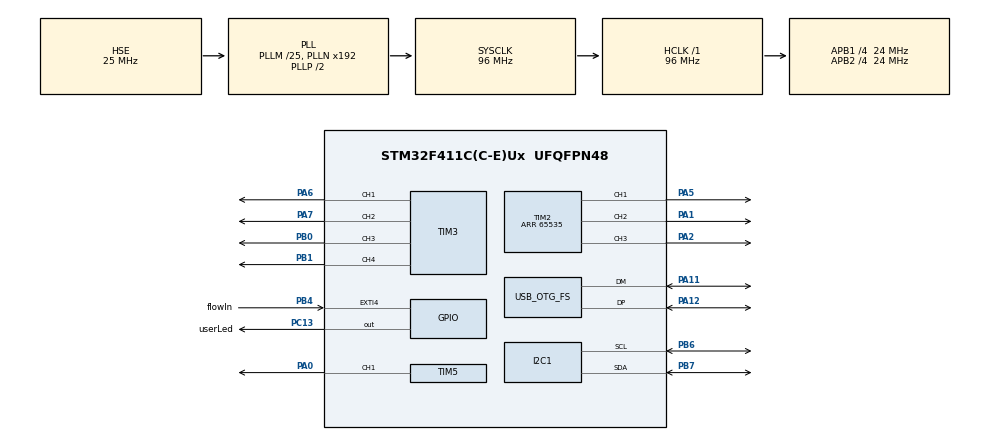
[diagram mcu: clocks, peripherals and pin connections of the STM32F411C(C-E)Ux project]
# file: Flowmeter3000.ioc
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Dma.I2C1_RX.0.Direction=DMA_PERIPH_TO_MEMORY
Dma.I2C1_RX.0.FIFOMode=DMA_FIFOMODE_DISABLE
Dma.I2C1_RX.0.Instance=DMA1_Stream0
Dma.I2C1_RX.0.MemDataAlignment=DMA_MDATAALIGN_BYTE
Dma.I2C1_RX.0.MemInc=DMA_MINC_ENABLE
Dma.I2C1_RX.0.Mode=DMA_NORMAL
Dma.I2C1_RX.0.PeriphDataAlignment=DMA_PDATAALIGN_BYTE
Dma.I2C1_RX.0.PeriphInc=DMA_PINC_DISABLE
Dma.I2C1_RX.0.Priority=DMA_PRIORITY_LOW
Dma.I2C1_TX.1.Direction=DMA_MEMORY_TO_PERIPH
Dma.I2C1_TX.1.FIFOMode=DMA_FIFOMODE_DISABLE
Dma.I2C1_TX.1.Instance=DMA1_Stream1
Dma.I2C1_TX.1.MemDataAlignment=DMA_MDATAALIGN_BYTE
Dma.I2C1_TX.1.MemInc=DMA_MINC_ENABLE
Dma.I2C1_TX.1.Mode=DMA_NORMAL
Dma.I2C1_TX.1.PeriphDataAlignment=DMA_PDATAALIGN_BYTE
Dma.I2C1_TX.1.PeriphInc=DMA_PINC_DISABLE
Dma.I2C1_TX.1.Priority=DMA_PRIORITY_LOW
Dma.Request0=I2C1_RX
Dma.Request1=I2C1_TX
I2C1.GeneralCallMode=I2C_GENERALCALL_DISABLE
I2C1.I2C_Mode=I2C_Fast
I2C1.NoStretchMode=I2C_NOSTRETCH_DISABLE
I2C1.OwnAddress=0x12
Mcu.Family=STM32F4
Mcu.Name=STM32F411C(C-E)Ux
Mcu.Package=UFQFPN48
NVIC.DMA1_Stream0_IRQn=true\:1\:0\:true\:true\:true\:2\:false\:true\:true
NVIC.DMA1_Stream1_IRQn=true\:1\:0\:true\:true\:true\:3\:false\:true\:true
NVIC.EXTI4_IRQn=true\:0\:0\:true\:true\:true\:1\:true\:true\:true
NVIC.I2C1_ER_IRQn=true\:1\:0\:true\:true\:true\:5\:true\:true\:true
NVIC.I2C1_EV_IRQn=true\:1\:0\:true\:true\:true\:4\:true\:true\:true
NVIC.OTG_FS_IRQn=true\:2\:0\:true\:true\:true\:6\:false\:true\:true
NVIC.PriorityGroup=NVIC_PRIORITYGROUP_4
PA0-WKUP.Signal=S_TIM5_CH1
PA1.Signal=S_TIM2_CH2
PA11.Mode=Device_Only
PA11.Signal=USB_OTG_FS_DM
PA12.Mode=Device_Only
PA12.Signal=USB_OTG_FS_DP
PA13.Mode=Serial_Wire
PA13.Signal=SYS_JTMS-SWDIO
PA14.Mode=Serial_Wire
PA14.Signal=SYS_JTCK-SWCLK
PA2.Signal=S_TIM2_CH3
PA5.Signal=S_TIM2_CH1_ETR
PA6.Signal=S_TIM3_CH1
PA7.Signal=S_TIM3_CH2
PB0.Signal=S_TIM3_CH3
PB1.Signal=S_TIM3_CH4
PB4.GPIO_Label=flowIn
PB4.GPIO_ModeDefaultEXTI=GPIO_MODE_IT_RISING_FALLING
PB4.GPIO_PuPd=GPIO_NOPULL
PB4.Signal=GPXTI4
PB6.Mode=I2C
PB6.Signal=I2C1_SCL
PB7.Mode=I2C
PB7.Signal=I2C1_SDA
PC13-ANTI_TAMP.GPIO_Label=userLed
PC13-ANTI_TAMP.GPIO_ModeDefaultOutputPP=GPIO_MODE_OUTPUT_PP
PC13-ANTI_TAMP.Signal=GPIO_Output
PC14-OSC32_IN.Mode=LSE-External-Oscillator
PC14-OSC32_IN.Signal=RCC_OSC32_IN
PC15-OSC32_OUT.Mode=LSE-External-Oscillator
PC15-OSC32_OUT.Signal=RCC_OSC32_OUT
PH0\ -\ OSC_IN.Mode=HSE-External-Oscillator
PH0\ -\ OSC_IN.Signal=RCC_OSC_IN
PH1\ -\ OSC_OUT.Mode=HSE-External-Oscillator
PH1\ -\ OSC_OUT.Signal=RCC_OSC_OUT
ProjectManager.HeapSize=0x200
ProjectManager.StackSize=0x400
ProjectManager.TargetToolchain=STM32CubeIDE
RCC.48MHZClocksFreq_Value=48000000
RCC.AHBFreq_Value=96000000
RCC.APB1CLKDivider=RCC_HCLK_DIV4
RCC.APB1Freq_Value=24000000
RCC.APB1TimFreq_Value=48000000
RCC.APB2CLKDivider=RCC_HCLK_DIV4
RCC.APB2Freq_Value=24000000
RCC.APB2TimFreq_Value=48000000
RCC.CortexFreq_Value=96000000
RCC.HCLKFreq_Value=96000000
RCC.HSE_VALUE=25000000
RCC.HSI_VALUE=16000000
RCC.PLLM=25
RCC.SYSCLKFreq_VALUE=96000000
RCC.SYSCLKSource=RCC_SYSCLKSOURCE_PLLCLK
RCC.VCOOutputFreq_Value=192000000
SH.S_TIM2_CH1_ETR.0=TIM2_CH1,PWM Generation1 CH1
SH.S_TIM2_CH2.0=TIM2_CH2,PWM Generation2 CH2
SH.S_TIM2_CH3.0=TIM2_CH3,PWM Generation3 CH3
SH.S_TIM3_CH1.0=TIM3_CH1,PWM Generation1 CH1
SH.S_TIM3_CH2.0=TIM3_CH2,PWM Generation2 CH2
SH.S_TIM3_CH3.0=TIM3_CH3,PWM Generation3 CH3
SH.S_TIM3_CH4.0=TIM3_CH4,PWM Generation4 CH4
SH.S_TIM5_CH1.0=TIM5_CH1,PWM Generation1 CH1
TIM2.Channel-PWM\ Generation1\ CH1=TIM_CHANNEL_1
TIM2.Channel-PWM\ Generation2\ CH2=TIM_CHANNEL_2
TIM2.Channel-PWM\ Generation3\ CH3=TIM_CHANNEL_3
TIM2.Period=65535
TIM3.Channel-PWM\ Generation1\ CH1=TIM_CHANNEL_1
TIM3.Channel-PWM\ Generation2\ CH2=TIM_CHANNEL_2
TIM3.Channel-PWM\ Generation3\ CH3=TIM_CHANNEL_3
TIM3.Channel-PWM\ Generation4\ CH4=TIM_CHANNEL_4
TIM5.Channel-PWM\ Generation1\ CH1=TIM_CHANNEL_1
TIM5.Period=65535
USB_DEVICE.CLASS_NAME_FS=CDC
USB_DEVICE.LANGID_STRING=1031
USB_DEVICE.MANUFACTURER_STRING=Z-Gesellschaft
USB_DEVICE.VirtualMode=Cdc
USB_DEVICE.VirtualModeFS=Cdc_FS
USB_OTG_FS.VirtualMode=Device_Only
VP_USB_DEVICE_VS_USB_DEVICE_CDC_FS.Mode=CDC_FS
board=custom

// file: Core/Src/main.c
/* USER CODE BEGIN Header */
/**
 ******************************************************************************
 * @file           : main.c
 * @brief          : Main program body
 ******************************************************************************
 * @attention
 *
 * Copyright (c) 2022 STMicroelectronics.
 * All rights reserved.
 *
 * This software is licensed under terms that can be found in the LICENSE file
 * in the root directory of this software component.
 * If no LICENSE file comes with this software, it is provided AS-IS.
 *
 ******************************************************************************
 */
/* USER CODE END Header */
#include "main.h"
#include "usb_device.h"

/* USER CODE BEGIN Includes */
#include "communication.h"
/* USER CODE END Includes */

/* USER CODE BEGIN PTD */
//__IO uint32_t Transfer_Direction = 0;
//__IO uint32_t Xfer_Complete = 0;
//__IO uint32_t errorCode = 0;
/* USER CODE END PTD */

/* USER CODE BEGIN PD */

/* Buffer used for transmission */
uint8_t aTxBuffer[2];

/* Buffer used for reception */
uint8_t aRxBuffer[3];

/* USER CODE END PD */

I2C_HandleTypeDef hi2c1;
DMA_HandleTypeDef hdma_i2c1_rx;
DMA_HandleTypeDef hdma_i2c1_tx;

TIM_HandleTypeDef htim2;
TIM_HandleTypeDef htim3;
TIM_HandleTypeDef htim5;

/* USER CODE BEGIN PV */
__IO uint8_t interruptCounter = 0;
unsigned int userMillis = 500;
__IO unsigned int zapfMillis = 0;
unsigned int oldMillis = 0;
unsigned int countProMl;
char buffer[60];
uint8_t energieSparen = 0;
uint8_t ebnerModus = 0;
uint8_t ledDelayVar = 10;
uint8_t recieveComplete = 0;
unsigned int helligkeit = 0;

/* USER CODE END PV */

void SystemClock_Config(void);
static void MX_GPIO_Init(void);
static void MX_DMA_Init(void);
static void MX_I2C1_Init(void);
static void MX_TIM2_Init(void);
static void MX_TIM3_Init(void);
static void MX_TIM5_Init(void);
static void MX_NVIC_Init(void);
/* USER CODE BEGIN PFP */
void zapfStandLed(uint16_t anzeigeMillis);
void dimLed(unsigned int, unsigned int);
void ledDelay(void);
void warpLed(uint16_t wieOftAusfuehren);
void warpLed2(uint32_t laufZeit);
void warpLed3(uint32_t laufZeit);
void gauselMann(void);
void dimLedToWert(void);
void checkAfterMaster(void);
uint16_t getFromRxBuffer(void);

extern uint8_t CDC_Transmit_FS(char *Buf, uint16_t Len);
/* USER CODE END PFP */

int main(void)
{

  /* MCU Configuration--------------------------------------------------------*/

  /* Reset of all peripherals, Initializes the Flash interface and the Systick. */
  HAL_Init();

  /* USER CODE BEGIN Init */
	aRxBuffer[0] = 0x00;
	aRxBuffer[1] = 0x00;
	aRxBuffer[2] = 0x00;
	aTxBuffer[0] = 0x00;
	aTxBuffer[1] = 0x00;
	countProMl = 1048; // bis der Master was anderes schickt
  /* USER CODE END Init */

  /* Configure the system clock */
  SystemClock_Config();

  /* Initialize all configured peripherals */
  MX_GPIO_Init();
  MX_DMA_Init();
  MX_I2C1_Init();
  MX_USB_DEVICE_Init();
  MX_TIM2_Init();
  MX_TIM3_Init();
  MX_TIM5_Init();

  /* Initialize interrupts */
  MX_NVIC_Init();
  /* USER CODE BEGIN 2 */
	/* Starte PWM  Timer */
	HAL_TIM_PWM_Start(&htim2, TIM_CHANNEL_1);
	HAL_TIM_PWM_Start(&htim2, TIM_CHANNEL_2);
	HAL_TIM_PWM_Start(&htim2, TIM_CHANNEL_3);
	HAL_TIM_PWM_Start(&htim3, TIM_CHANNEL_1);
	HAL_TIM_PWM_Start(&htim3, TIM_CHANNEL_2);
	HAL_TIM_PWM_Start(&htim3, TIM_CHANNEL_3);
	HAL_TIM_PWM_Start(&htim3, TIM_CHANNEL_4);
	HAL_TIM_PWM_Start(&htim5, TIM_CHANNEL_1);

	HAL_Delay(1);

	/*##-2- Put I2C peripheral in reception process ###########################*/
	if (HAL_I2C_Slave_Receive_DMA(&hi2c1, aRxBuffer, 3) != HAL_OK) {
		/* Transfer error in reception process */
		Error_Handler();
	}

	/* LED aus */
	HAL_GPIO_WritePin(userLed_GPIO_Port, userLed_Pin, 1);

	aRxBuffer[2]=10;
	warpLed3(250);
	aRxBuffer[2]=0;

  /* USER CODE END 2 */

  /* Infinite loop */
  /* USER CODE BEGIN WHILE */
	while (1) {

		if (recieveComplete == 1) {
			recieveComplete = 0;
			if (aRxBuffer[0] > 0x01)
				checkAfterMaster();
		}

		if (oldMillis != zapfMillis) {
			//HAL_GPIO_TogglePin(userLed_GPIO_Port, userLed_Pin);
			oldMillis = zapfMillis;
			if (zapfMillis < userMillis) {
				zapfStandLed(zapfMillis);
			}
			else {
				zapfStandLed(userMillis);
			}

//			sprintf(buffer, "zapf: %d ml aTx0: %x aTx1: %x  \n\r", zapfMillis,
//					aTxBuffer[0], aTxBuffer[1]);
//			CDC_Transmit_FS(buffer, sizeof(buffer));

//			if (zapfMillis >= userMillis) {
//				zapfMillis = 0;
//				for (unsigned int x = 65535; x > 128; x -= 127) {
//					dimLed(0, x);
//					HAL_Delay(1);
//				}
//				dimLed(0, 0);
//			}

		}

	}

    /* USER CODE END WHILE */

}

void SystemClock_Config(void)
{
  RCC_OscInitTypeDef RCC_OscInitStruct = {0};
  RCC_ClkInitTypeDef RCC_ClkInitStruct = {0};

  /** Configure the main internal regulator output voltage
  */
  __HAL_RCC_PWR_CLK_ENABLE();
  __HAL_PWR_VOLTAGESCALING_CONFIG(PWR_REGULATOR_VOLTAGE_SCALE1);

  /** Initializes the RCC Oscillators according to the specified parameters
  * in the RCC_OscInitTypeDef structure.
  */
  RCC_OscInitStruct.OscillatorType = RCC_OSCILLATORTYPE_HSE;
  RCC_OscInitStruct.HSEState = RCC_HSE_ON;
  RCC_OscInitStruct.PLL.PLLState = RCC_PLL_ON;
  RCC_OscInitStruct.PLL.PLLSource = RCC_PLLSOURCE_HSE;
  RCC_OscInitStruct.PLL.PLLM = 25;
  RCC_OscInitStruct.PLL.PLLN = 192;
  RCC_OscInitStruct.PLL.PLLP = RCC_PLLP_DIV2;
  RCC_OscInitStruct.PLL.PLLQ = 4;
  if (HAL_RCC_OscConfig(&RCC_OscInitStruct) != HAL_OK)
  {
    Error_Handler();
  }

  /** Initializes the CPU, AHB and APB buses clocks
  */
  RCC_ClkInitStruct.ClockType = RCC_CLOCKTYPE_HCLK|RCC_CLOCKTYPE_SYSCLK
                              |RCC_CLOCKTYPE_PCLK1|RCC_CLOCKTYPE_PCLK2;
  RCC_ClkInitStruct.SYSCLKSource = RCC_SYSCLKSOURCE_PLLCLK;
  RCC_ClkInitStruct.AHBCLKDivider = RCC_SYSCLK_DIV1;
  RCC_ClkInitStruct.APB1CLKDivider = RCC_HCLK_DIV4;
  RCC_ClkInitStruct.APB2CLKDivider = RCC_HCLK_DIV4;

  if (HAL_RCC_ClockConfig(&RCC_ClkInitStruct, FLASH_LATENCY_3) != HAL_OK)
  {
    Error_Handler();
  }
}

/**
  * @brief NVIC Configuration.
  * @retval None
  */
static void MX_NVIC_Init(void)
{
  /* EXTI4_IRQn interrupt configuration */
  HAL_NVIC_SetPriority(EXTI4_IRQn, 0, 0);
  HAL_NVIC_EnableIRQ(EXTI4_IRQn);
  /* DMA1_Stream0_IRQn interrupt configuration */
  HAL_NVIC_SetPriority(DMA1_Stream0_IRQn, 1, 0);
  HAL_NVIC_EnableIRQ(DMA1_Stream0_IRQn);
  /* DMA1_Stream1_IRQn interrupt configuration */
  HAL_NVIC_SetPriority(DMA1_Stream1_IRQn, 1, 0);
  HAL_NVIC_EnableIRQ(DMA1_Stream1_IRQn);
  /* I2C1_EV_IRQn interrupt configuration */
  HAL_NVIC_SetPriority(I2C1_EV_IRQn, 1, 0);
  HAL_NVIC_EnableIRQ(I2C1_EV_IRQn);
  /* I2C1_ER_IRQn interrupt configuration */
  HAL_NVIC_SetPriority(I2C1_ER_IRQn, 1, 0);
  HAL_NVIC_EnableIRQ(I2C1_ER_IRQn);
  /* OTG_FS_IRQn interrupt configuration */
  HAL_NVIC_SetPriority(OTG_FS_IRQn, 2, 0);
  HAL_NVIC_EnableIRQ(OTG_FS_IRQn);
}

static void MX_I2C1_Init(void)
{

  hi2c1.Instance = I2C1;
  hi2c1.Init.ClockSpeed = 400000;
  hi2c1.Init.DutyCycle = I2C_DUTYCYCLE_2;
  hi2c1.Init.OwnAddress1 = 36;
  hi2c1.Init.AddressingMode = I2C_ADDRESSINGMODE_7BIT;
  hi2c1.Init.DualAddressMode = I2C_DUALADDRESS_DISABLE;
  hi2c1.Init.OwnAddress2 = 0;
  hi2c1.Init.GeneralCallMode = I2C_GENERALCALL_DISABLE;
  hi2c1.Init.NoStretchMode = I2C_NOSTRETCH_DISABLE;
  if (HAL_I2C_Init(&hi2c1) != HAL_OK)
  {
    Error_Handler();
  }

}

static void MX_TIM2_Init(void)
{

  TIM_MasterConfigTypeDef sMasterConfig = {0};
  TIM_OC_InitTypeDef sConfigOC = {0};

  htim2.Instance = TIM2;
  htim2.Init.Prescaler = 0;
  htim2.Init.CounterMode = TIM_COUNTERMODE_UP;
  htim2.Init.Period = 65535;
  htim2.Init.ClockDivision = TIM_CLOCKDIVISION_DIV1;
  htim2.Init.AutoReloadPreload = TIM_AUTORELOAD_PRELOAD_DISABLE;
  if (HAL_TIM_PWM_Init(&htim2) != HAL_OK)
  {
    Error_Handler();
  }
  sMasterConfig.MasterOutputTrigger = TIM_TRGO_RESET;
  sMasterConfig.MasterSlaveMode = TIM_MASTERSLAVEMODE_DISABLE;
  if (HAL_TIMEx_MasterConfigSynchronization(&htim2, &sMasterConfig) != HAL_OK)
  {
    Error_Handler();
  }
  sConfigOC.OCMode = TIM_OCMODE_PWM1;
  sConfigOC.Pulse = 0;
  sConfigOC.OCPolarity = TIM_OCPOLARITY_HIGH;
  sConfigOC.OCFastMode = TIM_OCFAST_DISABLE;
  if (HAL_TIM_PWM_ConfigChannel(&htim2, &sConfigOC, TIM_CHANNEL_1) != HAL_OK)
  {
    Error_Handler();
  }
  if (HAL_TIM_PWM_ConfigChannel(&htim2, &sConfigOC, TIM_CHANNEL_2) != HAL_OK)
  {
    Error_Handler();
  }
  if (HAL_TIM_PWM_ConfigChannel(&htim2, &sConfigOC, TIM_CHANNEL_3) != HAL_OK)
  {
    Error_Handler();
  }
  HAL_TIM_MspPostInit(&htim2);

}

static void MX_TIM3_Init(void)
{

  TIM_MasterConfigTypeDef sMasterConfig = {0};
  TIM_OC_InitTypeDef sConfigOC = {0};

  htim3.Instance = TIM3;
  htim3.Init.Prescaler = 0;
  htim3.Init.CounterMode = TIM_COUNTERMODE_UP;
  htim3.Init.Period = 65535;
  htim3.Init.ClockDivision = TIM_CLOCKDIVISION_DIV1;
  htim3.Init.AutoReloadPreload = TIM_AUTORELOAD_PRELOAD_DISABLE;
  if (HAL_TIM_PWM_Init(&htim3) != HAL_OK)
  {
    Error_Handler();
  }
  sMasterConfig.MasterOutputTrigger = TIM_TRGO_RESET;
  sMasterConfig.MasterSlaveMode = TIM_MASTERSLAVEMODE_DISABLE;
  if (HAL_TIMEx_MasterConfigSynchronization(&htim3, &sMasterConfig) != HAL_OK)
  {
    Error_Handler();
  }
  sConfigOC.OCMode = TIM_OCMODE_PWM1;
  sConfigOC.Pulse = 0;
  sConfigOC.OCPolarity = TIM_OCPOLARITY_HIGH;
  sConfigOC.OCFastMode = TIM_OCFAST_DISABLE;
  if (HAL_TIM_PWM_ConfigChannel(&htim3, &sConfigOC, TIM_CHANNEL_1) != HAL_OK)
  {
    Error_Handler();
  }
  if (HAL_TIM_PWM_ConfigChannel(&htim3, &sConfigOC, TIM_CHANNEL_2) != HAL_OK)
  {
    Error_Handler();
  }
  if (HAL_TIM_PWM_ConfigChannel(&htim3, &sConfigOC, TIM_CHANNEL_3) != HAL_OK)
  {
    Error_Handler();
  }
  if (HAL_TIM_PWM_ConfigChannel(&htim3, &sConfigOC, TIM_CHANNEL_4) != HAL_OK)
  {
    Error_Handler();
  }
  HAL_TIM_MspPostInit(&htim3);

}

static void MX_TIM5_Init(void)
{

  TIM_MasterConfigTypeDef sMasterConfig = {0};
  TIM_OC_InitTypeDef sConfigOC = {0};

  htim5.Instance = TIM5;
  htim5.Init.Prescaler = 0;
  htim5.Init.CounterMode = TIM_COUNTERMODE_UP;
  htim5.Init.Period = 65535;
  htim5.Init.ClockDivision = TIM_CLOCKDIVISION_DIV1;
  htim5.Init.AutoReloadPreload = TIM_AUTORELOAD_PRELOAD_DISABLE;
  if (HAL_TIM_PWM_Init(&htim5) != HAL_OK)
  {
    Error_Handler();
  }
  sMasterConfig.MasterOutputTrigger = TIM_TRGO_RESET;
  sMasterConfig.MasterSlaveMode = TIM_MASTERSLAVEMODE_DISABLE;
  if (HAL_TIMEx_MasterConfigSynchronization(&htim5, &sMasterConfig) != HAL_OK)
  {
    Error_Handler();
  }
  sConfigOC.OCMode = TIM_OCMODE_PWM1;
  sConfigOC.Pulse = 0;
  sConfigOC.OCPolarity = TIM_OCPOLARITY_HIGH;
  sConfigOC.OCFastMode = TIM_OCFAST_DISABLE;
  if (HAL_TIM_PWM_ConfigChannel(&htim5, &sConfigOC, TIM_CHANNEL_1) != HAL_OK)
  {
    Error_Handler();
  }
  HAL_TIM_MspPostInit(&htim5);

}

static void MX_DMA_Init(void)
{

  /* DMA controller clock enable */
  __HAL_RCC_DMA1_CLK_ENABLE();

}

static void MX_GPIO_Init(void)
{
  GPIO_InitTypeDef GPIO_InitStruct = {0};

  /* GPIO Ports Clock Enable */
  __HAL_RCC_GPIOC_CLK_ENABLE();
  __HAL_RCC_GPIOH_CLK_ENABLE();
  __HAL_RCC_GPIOA_CLK_ENABLE();
  __HAL_RCC_GPIOB_CLK_ENABLE();

  /*Configure GPIO pin Output Level */
  HAL_GPIO_WritePin(userLed_GPIO_Port, userLed_Pin, GPIO_PIN_RESET);

  /*Configure GPIO pin : userLed_Pin */
  GPIO_InitStruct.Pin = userLed_Pin;
  GPIO_InitStruct.Mode = GPIO_MODE_OUTPUT_PP;
  GPIO_InitStruct.Pull = GPIO_NOPULL;
  GPIO_InitStruct.Speed = GPIO_SPEED_FREQ_LOW;
  HAL_GPIO_Init(userLed_GPIO_Port, &GPIO_InitStruct);

  /*Configure GPIO pin : flowIn_Pin */
  GPIO_InitStruct.Pin = flowIn_Pin;
  GPIO_InitStruct.Mode = GPIO_MODE_IT_RISING_FALLING;
  GPIO_InitStruct.Pull = GPIO_NOPULL;
  HAL_GPIO_Init(flowIn_GPIO_Port, &GPIO_InitStruct);

}

/* USER CODE BEGIN 4 */
/* Interrupt Service Routine für den SM6020 Flowmeter von ifm
 *
 * Zählt nur vernünftig, wenn der Pin auf Rising/Falling eingestellt ist.
 * I DONT KNOW WHY. FUCK.
 *
 * Natürlich hat man dann die doppelte Anzahl an Pulsen. Wenn die ISR die volatile zapfMillis bei
 * jedem zweiten Puls hochzählt hat man aber absolut korrekte Ergebnisse,
 * egal was noch einen IRQ auslöst.
 */
void HAL_GPIO_EXTI_Callback(uint16_t GPIO_Pin) {
	if (GPIO_Pin == flowIn_Pin) {
		interruptCounter++;
		if (interruptCounter == 2) {
			interruptCounter = 0;
			zapfMillis++;
		}
		/* Gleich mal die Ausgabewerte für den I2C befüllen */
		aTxBuffer[1] = zapfMillis & 0xFF;   // Lowbyte (die hinteren 8 Bit)
		aTxBuffer[0] = zapfMillis >> 8;	// Highbyte (die vorderen acht Bit)
	}
}

/**
 * @brief  Diese Funktion gibt den Wert der zwei I2C Datenbytes als INT zurück
 * @param  none
 * @retval INT von aRxBuffer[1] und aRxBuffer[2]
 */
uint16_t getFromRxBuffer(void) {
	return ((aRxBuffer[1] << 8) | (aRxBuffer[2] & 0xFF));
}

void checkAfterMaster(void) {
	HAL_GPIO_TogglePin(userLed_GPIO_Port, userLed_Pin);

	switch (aRxBuffer[0]) {

	case setUserMilliLitres:
		userMillis = getFromRxBuffer();
		countProMl = 524287 / userMillis;
		break;
	case beginZapf:
		zapfMillis = 0;
		interruptCounter = 0;
		dimLed(0, helligkeit);
		countProMl = 524287 / userMillis;
		aTxBuffer[1] = zapfMillis & 0xFF;   // Lowbyte (die hinteren 8 Bit)
		aTxBuffer[0] = zapfMillis >> 8;	// Highbyte (die vorderen acht Bit)
		break;
	case makeFunWithLeds1:
		/* Laufzeit kommt von aRxBuffer[1], Delay von aRxBuffer[2] */
		warpLed(aRxBuffer[1]);
		break;
	case makeFunWithLeds2:
		warpLed2(aRxBuffer[1] * 1000);
		break;
	case makeFunWithLeds3:
		warpLed3(aRxBuffer[1] * 1000);
		break;
	case makeFunWithLeds4:
		gauselMann();
		break;
	case DIM_LED_TO_WERT:
		dimLedToWert();
		break;
	case endZapf:
		zapfMillis = 0;
		interruptCounter = 0;
		aTxBuffer[1] = zapfMillis & 0xFF;   // Lowbyte (die hinteren 8 Bit)
		aTxBuffer[0] = zapfMillis >> 8;	// Highbyte (die vorderen acht Bit)
		break;
	case ebiMode:
		ebnerModus = 1;
		break;
	case lowEnergy:
		if (aRxBuffer[1] == 0x01) {
			energieSparen = 1;
			dimLed(0, 0);
		}
		if (aRxBuffer[1] == 0x00) {
			energieSparen = 0;
			dimLed(0,0xFFFF);
			HAL_Delay(250);
			dimLed(0,0);
		}

		break;

	}

}

/* Zeigt den aktuellen  Zapfstand an */
void zapfStandLed(uint16_t anzeigeMillis) {
	unsigned long countsAktuell = countProMl * anzeigeMillis;

	if (countsAktuell < 1 * 0xFFFF) {
		dimLed(1, countsAktuell);
		//TIM2->CCR1 = countsAktuell;
	}
	if ((countsAktuell < 2 * 0xFFFF) && (countsAktuell > 1 * 0xFFFF)) {
		dimLed(1, 0xFFFF);
		//TIM2->CCR1 = 0xFFFF;
		dimLed(2, countsAktuell - 0xFFFF);
		//TIM2->CCR2 = countsAktuell - 0xFFFF;
	}
	if ((countsAktuell < 3 * 0xFFFF) && (countsAktuell > 2 * 0xFFFF)) {
		dimLed(2, 0xFFFF);
		dimLed(3, countsAktuell - 2 * 0xFFFF);
		//TIM2->CCR2 = 0xFFFF;
		//TIM2->CCR3 = countsAktuell - 2 * 0xFFFF;
	}
	if ((countsAktuell < 4 * 0xFFFF) && (countsAktuell > 3 * 0xFFFF)) {
		dimLed(3, 0xFFFF);
		dimLed(4, countsAktuell - 3 * 0xFFFF);

		//TIM2->CCR3 = 0xFFFF;
		//TIM3->CCR1 = countsAktuell - 3 * 0xFFFF;
	}
	if ((countsAktuell < 5 * 0xFFFF) && (countsAktuell > 4 * 0xFFFF)) {
		dimLed(4, 0xFFFF);
		dimLed(5, countsAktuell - 4 * 0xFFFF);

		//TIM3->CCR1 = 0xFFFF;
		//TIM3->CCR2 = countsAktuell - 4 * 0xFFFF;
	}
	if ((countsAktuell < 6 * 0xFFFF) && (countsAktuell > 5 * 0xFFFF)) {
		dimLed(5, 0xFFFF);
		dimLed(6, countsAktuell - 5 * 0xFFFF);

		//TIM3->CCR3 = 0xFFFF;
		//TIM3->CCR3 = countsAktuell - 5 * 0xFFFF;
	}
	if ((countsAktuell < 7 * 0xFFFF) && (countsAktuell > 6 * 0xFFFF)) {
		dimLed(6, 0xFFFF);
		dimLed(7, countsAktuell - 6 * 0xFFFF);

		//TIM3->CCR3 = 0xFFFF;
		//TIM3->CCR4 = countsAktuell - 6 * 0xFFFF;
	}
	if ((countsAktuell < 8 * 0xFFFF) && (countsAktuell > 7 * 0xFFFF)) {
		dimLed(7, 0xFFFF);
		dimLed(8, countsAktuell - 7 * 0xFFFF);

		//TIM3->CCR4 = 0xFFFF;
		//TIM5->CCR1 = countsAktuell - 7 * 0xFFFF;
	}
	if (energieSparen == 1){
		dimLed(0,0);
		}

}

void ledDelay(void) {
	/* Das zweite Byte von makeFunWithLeds wird als Systick Delay genutzt */

	uint16_t x = 0;
	if (aRxBuffer[2] > 10) {
		ledDelayVar = aRxBuffer[2];
	}
	while (x <= ledDelayVar * 100) {
		x++;
	}
}

void warpLed(uint16_t wieOftAusfuehren) {
	//uint32_t beginnZeit = HAL_GetTick();
	uint16_t warp[8];
    uint16_t wieOftAusgefuehrt = 0;

    // alles leicht einschalten am Anfang
	for (int x = 0; x<8; x++){
		warp[x] = 1023;
	}

	uint16_t teile = 0;
	uint8_t standPunkt = 0;
	//while (HAL_GetTick() - beginnZeit < laufZeit) {
	while (wieOftAusgefuehrt < aRxBuffer[1]) {  //stoppt wenn man eine Anfrage schickt die den aRXbuffer auf 0 setzt
		teile += 31;
		if (teile > 1984) {
			teile = 0;
			standPunkt++;
		}

		if (standPunkt == 0) {
			warp[0] += teile;
		}

		if (standPunkt == 1) {
			warp[1] += teile;
			warp[0] -= teile;
		}
		if (standPunkt == 2) {
			warp[2] += teile;
			warp[1] -= teile;
		}
		if (standPunkt == 3) {
			warp[3] += teile;
			warp[2] -= teile;
		}
		if (standPunkt == 4) {
			warp[0] += teile;
			warp[3] -= teile;
		}
		if (standPunkt > 4) {
			wieOftAusgefuehrt++;
			standPunkt = 1;
		}

		warp[7] = warp[0];
		warp[6] = warp[1];
		warp[5] = warp[2];
		warp[4] = warp[3];

		//hier die ganzen Werte ausgeben auf den LEDs
		for (uint8_t x = 0; x < 9; x++) {
			dimLed(x + 1, warp[x]);
		}
		ledDelay();
	}

	/* Alle Leds runterdimmen */

	/*
	for (uint8_t x = 0; x < 9; x++) {

		for (uint16_t y = warp[x]; y < 1; y--) {
			dimLed(x + 1, y);
		}
	}
	*/

}

void dimLedToWert() {
	//hier die LEDS dimmen wenn feddich
	uint8_t anfang = aRxBuffer[1];
	uint8_t ende = aRxBuffer[2];
	aRxBuffer[2] = 100; //shorter! das ist fürs delay dann
	for (uint8_t x = anfang; x > ende ; x --) {
		dimLed(0, (x << 8| 0xFF)); //0= alle LEDS, x der Zustand
		ledDelay();
	}
	if (ende > 0) {
		helligkeit = ende << 8 | 0x00;
	} else {
		helligkeit = 0;
	}
	dimLed(0,helligkeit);

}

void warpLed2(uint32_t laufZeit) {
	uint32_t beginnZeit = HAL_GetTick();
	uint16_t warp[8];
	for (uint16_t y = 0; y < 1024; y++) {
		for (uint8_t x = 0; x < 8; x++) {
			warp[x] = y;
			dimLed(x + 1, warp[x]);
		}
	}

	uint16_t teile = 0;
	uint8_t standPunkt = 0;
	while (HAL_GetTick() - beginnZeit < laufZeit) {
		teile += 31;
		if (teile > 1984) {
			teile = 0;
			standPunkt++;
			if (standPunkt > 9) {
				standPunkt = 2;
			}

		}

		if (standPunkt == 0) {
			warp[0] += teile;
		}

		if (standPunkt == 1) {
			warp[1] += teile;
		}
		if (standPunkt == 2) {
			warp[0] -= teile;
			warp[2] += teile;
		}
		if (standPunkt == 3) {
			warp[1] -= teile;
			warp[3] += teile;
		}
		if (standPunkt == 4) {
			warp[2] -= teile;
			warp[4] += teile;
		}
		if (standPunkt == 5) {
			warp[3] -= teile;
			warp[5] += teile;
		}
		if (standPunkt == 6) {
			warp[4] -= teile;
			warp[6] += teile;
		}
		if (standPunkt == 7) {
			warp[5] -= teile;
			warp[7] += teile;
		}
		if (standPunkt == 8) {
			warp[6] -= teile;
			warp[0] += teile;
		}
		if (standPunkt == 9) {
			warp[7] -= teile;
			warp[1] += teile;
		}

		for (uint8_t x = 0; x < 8; x++) {
			dimLed(x + 1, warp[x]);
		}

		ledDelay();
	}

	/* Alle Leds runterdimmen */

	for (uint8_t x = 0; x < 8; x++) {
		while (warp[x] > 0) {
			warp[x]--;
			dimLed(x + 1, warp[x]);
		}
	}
}

void warpLed3(uint32_t laufZeit) {
	uint32_t beginnZeit = HAL_GetTick();
	uint16_t warp[8];
	for (uint16_t y = 0; y < 1024; y++) {
		for (uint8_t x = 0; x < 8; x++) {
			warp[x] = y;
			dimLed(x + 1, warp[x]);
		}
	}

	uint16_t teile = 0;
	uint8_t standPunkt = 0;

	while (HAL_GetTick() - beginnZeit < laufZeit) {
		teile += 31;
		if (teile > 1984) {
			teile = 0;
			standPunkt++;

			if (standPunkt > 16) {
				standPunkt = 1;
			}

		}

		if (standPunkt == 0) {
			warp[0] += teile;
		}

		if (standPunkt == 1) {
			warp[1] += teile;
		}
		if (standPunkt == 2) {
			warp[0] -= teile;
			warp[2] += teile;
		}
		if (standPunkt == 3) {
			warp[1] -= teile;
			warp[3] += teile;
		}
		if (standPunkt == 4) {
			warp[2] -= teile;
			warp[4] += teile;
		}
		if (standPunkt == 5) {
			warp[3] -= teile;
			warp[5] += teile;
			warp[6] = 1023;
		}
		if (standPunkt == 6) {
			warp[4] -= teile;
			warp[6] += teile;
		}
		if (standPunkt == 7) {
			warp[5] -= teile;
			warp[7] += teile;
		}
		if (standPunkt == 8) {
			warp[6] -= teile;
		}
		if (standPunkt == 9) {
			warp[6] += teile;
		}
		if (standPunkt == 10) {
			warp[7] -= teile;
			warp[5] += teile;
		}

		if (standPunkt == 11) {
			warp[6] -= teile;
			warp[4] += teile;
		}
		if (standPunkt == 12) {
			warp[5] -= teile;
			warp[3] += teile;
		}
		if (standPunkt == 13) {
			warp[4] -= teile;
			warp[2] += teile;
		}
		if (standPunkt == 14) {
			warp[3] -= teile;
			warp[1] += teile;
		}
		if (standPunkt == 15) {
			warp[2] -= teile;
			warp[0] += teile;
		}
		if (standPunkt == 16) {
			warp[1] -= teile;
		}

		for (uint8_t x = 0; x < 8; x++) {
			dimLed(x + 1, warp[x]);
		}

//HAL_Delay(pauseDelay);

		ledDelay();
	}
	/* Alle Leds runterdimmen */

	for (uint8_t x = 0; x < 8; x++) {
		while (warp[x] > 0) {
			warp[x]--;
			dimLed(x + 1, warp[x]);
		}
	}
}

/**
 * @brief  Einfache Routine um die LEDs einzeln oder mehrere
 * 		   durch das zweite übertragene I2C Byte zu steuern
 * @param  werden durch I2C, Befehl 0x25 (in aRxBuffer[0]) gesetzt:
 * 		   aRxBuffer[1]: gibt an welche LEDs an oder aus
 * 		   aRxBuffer[2]: gibt an wie hell
 * @note
 * @retval None
 */
void gauselMann(void) {

	unsigned int helligkeit = (aRxBuffer[2] << 8 | 0x00);
	for (uint8_t x = 0; x < 9; x++) {
		if (aRxBuffer[1] & (0x01 << x)) {
			dimLed(x + 1, helligkeit); //(aRxBuffer[1] & (0x01 << x))*helligkeit);
		} else if (!(aRxBuffer[1] & (0x01 << x))) {
			dimLed(x + 1, 0);
		}

	}

}

/**
 * @brief  Einfache Routine um die LEDs zu steuern durch den Timer
 * @param  nummer: 1-8 helligkeit 0x00 - 0xFF
 * @note
 * @retval None
 */
void dimLed(unsigned int nummer, unsigned int helligkeit) {
	if (energieSparen == 1) {
		helligkeit = 0;
	}

	switch (nummer) {
	case 0:
		TIM2->CCR1 = helligkeit;
		TIM2->CCR2 = helligkeit;
		TIM2->CCR3 = helligkeit;
		TIM3->CCR1 = helligkeit;
		TIM3->CCR2 = helligkeit;
		TIM3->CCR3 = helligkeit;
		TIM3->CCR4 = helligkeit;
		TIM5->CCR1 = helligkeit;
		break;
	case 1:
		TIM5->CCR1 = helligkeit;
		break;
	case 2:
		TIM3->CCR4 = helligkeit;
		break;
	case 3:
		TIM3->CCR3 = helligkeit;
		break;
	case 4:
		TIM3->CCR2 = helligkeit;
		break;
	case 5:
		TIM3->CCR1 = helligkeit;
		break;
	case 6:
		TIM2->CCR3 = helligkeit;
		break;
	case 7:
		TIM2->CCR2 = helligkeit;
		break;
	case 8:
		TIM2->CCR1 = helligkeit;
		break;
	}
}

/**
 * @brief  Tx Transfer completed callback.
 * @param  I2cHandle: I2C handle.
 * @note   Switcht vom Sender wieder zum Reciever
 * @retval None
 */

void HAL_I2C_SlaveTxCpltCallback(I2C_HandleTypeDef *I2cHandle) {
	if (HAL_I2C_Slave_Receive_DMA(&hi2c1, aRxBuffer, 3) != HAL_OK) {
		Error_Handler();
	}
}

/**
 * @brief  Rx Transfer completed callback.
 * @param  I2cHandle: I2C handle
 * @note   Schaltet nach Empfang wieder in Slave Mode und setzt Flag recieveComplete
 * @retval None
 */
void HAL_I2C_SlaveRxCpltCallback(I2C_HandleTypeDef *I2cHandle) {
	/* Jetzt verschick mal wieder Modus*/
	if (HAL_I2C_Slave_Transmit_DMA(&hi2c1, aTxBuffer, 2) != HAL_OK) {
		Error_Handler();
	}
	/* kucken bis er wirklich in Slave Mode is */
	while (HAL_I2C_GetMode(&hi2c1) != HAL_I2C_MODE_SLAVE) {
	}
	recieveComplete = 1;
}

/**
 * @brief  I2C error callbacks.
 * @param  I2cHandle: I2C handle
 * @note   This example shows a simple way to report transfer error, and you can
 *         add your own implementation.
 * @retval None
 */
void HAL_I2C_ErrorCallback(I2C_HandleTypeDef *I2cHandle) {
	/** Error_Handler() function is called when error occurs.
	 * 1- When Slave doesn't acknowledge its address, Master restarts communication.
	 * 2- When Master doesn't acknowledge the last data transferred, Slave doesn't care in this example.
	 */
	if (HAL_I2C_GetError(I2cHandle) != HAL_I2C_ERROR_AF) {
		Error_Handler();
	}
}

/* USER CODE END 4 */

void Error_Handler(void)
{
  /* USER CODE BEGIN Error_Handler_Debug */
	/* User can add his own implementation to report the HAL error return state */
	HAL_GPIO_WritePin(userLed_GPIO_Port, userLed_Pin, 0);
	__disable_irq();
	while (1) {
		HAL_GPIO_TogglePin(userLed_GPIO_Port, userLed_Pin);
		HAL_Delay(200);
	}
  /* USER CODE END Error_Handler_Debug */
}
